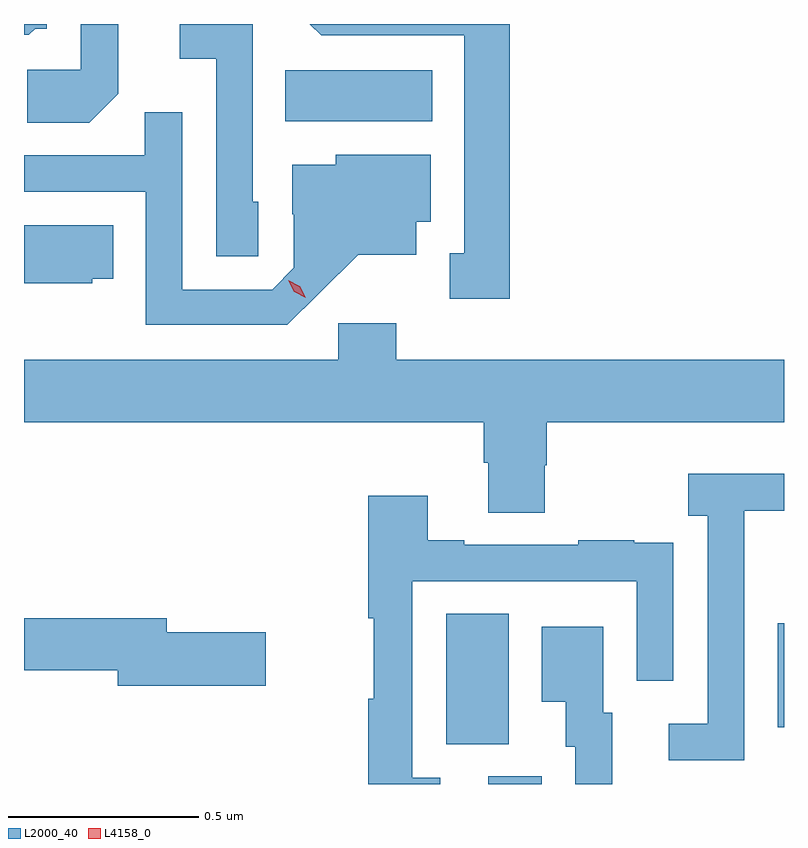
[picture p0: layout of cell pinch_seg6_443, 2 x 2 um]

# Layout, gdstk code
import gdstk
lib = gdstk.Library(unit=1e-6, precision=1e-09)
def R(c, l, rs):  # rectangles x0, y0, x1, y1
    for r in rs: c.add(gdstk.rectangle(r[:2], r[2:], *l))
def P(c, l, *ps):  # polygons
    for p in ps: c.add(gdstk.Polygon(p, *l))
L2000_40 = (2000, 40)
L4158_0 = (4158, 0)

pinch_seg6_443 = lib.new_cell('pinch_seg6_443')
R(pinch_seg6_443, L2000_40, [(701.339,931.732,701.479,931.752), (701.228,931.837,701.392,932.18), (702.101,931.881,702.117,932.155), (700.804,933.476,701.191,933.61)])
P(pinch_seg6_443, L2000_40, [(701.395,933.732),(700.869,933.732),(700.899,933.702),(701.276,933.702),(701.276,933.129),(701.237,933.129),(701.237,933.009),(701.395,933.009)],
  [(700.365,933.548),(700.365,933.732),(700.266,933.732),(700.266,933.612),(700.125,933.612),(700.125,933.472),(700.289,933.472)],
  [(700.146,933.72),(700.177,933.72),(700.177,933.732),(700.117,933.732),(700.117,933.704),(700.13,933.704)],
  [(700.734,933.264),(700.719,933.264),(700.719,933.732),(700.527,933.732),(700.527,933.641),(700.623,933.641),(700.623,933.121),(700.734,933.121)],
  [(700.894,933.023),(700.997,933.125),(701.149,933.125),(701.149,933.212),(701.188,933.212),(701.188,933.388),(700.938,933.388),(700.938,933.361),(700.823,933.361),(700.823,933.232),(700.827,933.232),(700.827,933.09),(700.77,933.033),(700.533,933.033),(700.533,933.5),(700.435,933.5),(700.435,933.387),(700.117,933.387),(700.117,933.291),(700.437,933.291),(700.437,932.94),(700.81,932.94)],
  [(700.296,933.062),(700.352,933.062),(700.352,933.202),(700.117,933.202),(700.117,933.05),(700.296,933.05)],
  [(701.487,932.571),(701.492,932.571),(701.492,932.684),(702.117,932.684),(702.117,932.848),(701.096,932.848),(701.096,932.944),(700.944,932.944),(700.944,932.848),(700.117,932.848),(700.117,932.684),(701.327,932.684),(701.327,932.578),(701.339,932.578),(701.339,932.446),(701.487,932.446)],
  [(702.012,932.251),(702.013,932.251),(702.013,932.451),(702.117,932.451),(702.117,932.548),(701.865,932.548),(701.865,932.438),(701.916,932.438),(701.916,931.89),(701.814,931.89),(701.814,931.794),(702.012,931.794)],
  [(701.212,931.749),(701.139,931.749),(701.139,932.265),(701.73,932.265),(701.73,932.004),(701.826,932.004),(701.826,932.258),(701.825,932.258),(701.825,932.367),(701.723,932.367),(701.723,932.374),(701.575,932.374),(701.575,932.361),(701.275,932.361),(701.275,932.374),(701.179,932.374),(701.179,932.491),(701.023,932.491),(701.023,932.168),(701.038,932.168),(701.038,931.956),(701.023,931.956),(701.023,931.732),(701.212,931.732)],
  [(700.753,932.132),(700.492,932.132),(700.492,932.168),(700.117,932.168),(700.117,932.032),(700.364,932.032),(700.364,931.99),(700.753,931.99)],
  [(701.665,931.92),(701.641,931.92),(701.641,932.146),(701.48,932.146),(701.48,931.949),(701.543,931.949),(701.543,931.83),(701.568,931.83),(701.568,931.732),(701.665,931.732)])
P(pinch_seg6_443, L4158_0, [(700.858,933.012),(700.828,933.028),(700.812,933.058),(700.812,933.058),(700.812,933.058),(700.842,933.042),(700.859,933.012),(700.859,933.012)])

lib.write_gds('pinch_seg6_443.gds')
